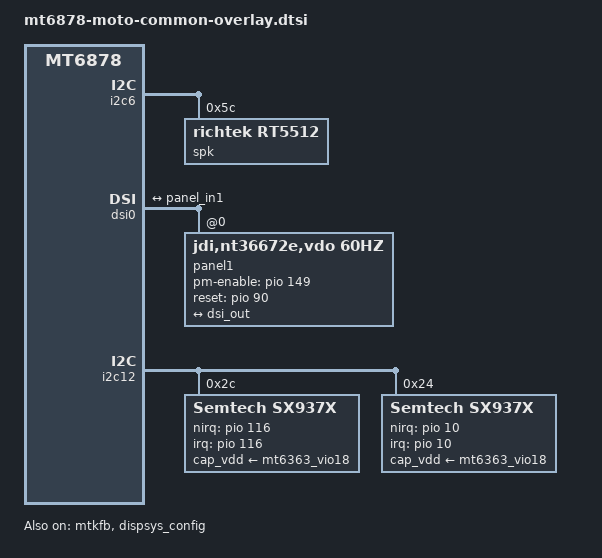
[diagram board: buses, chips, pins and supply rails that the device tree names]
// SPDX-License-Identifier: (GPL-2.0 OR MIT)
/*
 * Copyright (C) 2022 MediaTek Inc.
 */
/dts-v1/;
/plugin/;
#include <dt-bindings/interrupt-controller/arm-gic.h>
#include <dt-bindings/interrupt-controller/irq.h>
#include <dt-bindings/phy/phy.h>
#include <dt-bindings/pinctrl/mt6878-pinfunc.h>

#if 0
#include <dt-bindings/pinctrl/mt6897-pinfunc.h>
#endif

&chosen {
bootargs_ext = "arm64.nopauth arm64.nosme arm64.nosve";
};

&mtk_leds {
	compatible = "mediatek,i2c-leds";

	backlight {
		led-mode = <6>;
		gate-enable = <1>;
		pwm-config = <0 1 0 0 0>;
	};
};

&pdc {
	pd-vbus-upper-bound = <9000000>;
};

#if 0

&connfem {
/* Enable epa_elna node to support Wifi & BT ePA/eLNA FEM on customer load */
#if 0
	epa-elna {
		parts = <&wlan7207h &wlan7207c>;
		wifi {
			flags-0 {
				open-loop;
			};
		};
		bt {
			flags-0 {
				/* choose one of: epa-elna/epa/elna/bypass */
				epa-elna;
			};
		};
	};
#endif
};

/* GPS GPIO standardization start */
&pio {
	gps_pins_default: gps-default {
	};
	gps_l1_lna_pins_ol: gps-l1-lna0 {
		pins-cmd-dat {
			pinmux = <PINMUX_GPIO143__FUNC_GPIO143>;
			output-low;
		};
	};
	gps_l1_lna_pins_dsp_ctrl: gps-l1-lna1 {
		pins-cmd-dat {
			pinmux = <PINMUX_GPIO143__FUNC_GPS_L1_ELNA_EN>;
		};
	};
	gps_l1_lna_pins_oh: gps-l1-lna2 {
		pins-cmd-dat {
			pinmux = <PINMUX_GPIO143__FUNC_GPIO143>;
			output-high;
		};
	};
	gps_l5_lna_pins_ol: gps-l5-lna0 {
		pins-cmd-dat {
			pinmux = <PINMUX_GPIO144__FUNC_GPIO144>;
			output-low;
		};
	};
	gps_l5_lna_pins_dsp_ctrl: gps-l5-lna1 {
		pins-cmd-dat {
			pinmux = <PINMUX_GPIO144__FUNC_GPS_L5_ELNA_EN>;
		};
	};
	gps_l5_lna_pins_oh: gps-l5-lna2 {
		pins-cmd-dat {
			pinmux = <PINMUX_GPIO144__FUNC_GPIO144>;
			output-high;
		};
	};
};
&gps {
	pinctrl-names = "default",
		"gps_l1_lna_disable",
		"gps_l1_lna_dsp_ctrl",
		"gps_l1_lna_enable",
		"gps_l5_lna_disable",
		"gps_l5_lna_dsp_ctrl",
		"gps_l5_lna_enable";
	pinctrl-0 = <&gps_pins_default>;
	pinctrl-1 = <&gps_l1_lna_pins_ol>;
	pinctrl-2 = <&gps_l1_lna_pins_dsp_ctrl>;
	pinctrl-3 = <&gps_l1_lna_pins_oh>;
	pinctrl-4 = <&gps_l5_lna_pins_ol>;
	pinctrl-5 = <&gps_l5_lna_pins_dsp_ctrl>;
	pinctrl-6 = <&gps_l5_lna_pins_oh>;
	status = "okay";
};
/* GPS GPIO standardization end */

#endif

&i2c6 {
	spk: speaker-amp@5c {
		compatible = "richtek,rt5512";
		#address-cells = <1>;
		#size-cells = <0>;
		#sound-dai-cells = <0>;
		reg = <0x5c>;
		status = "okay";
		sound-name-prefix = "Left";
	};
};

&sound {
	mediatek,spk-i2s = <25 24>;
	mediatek,speaker-codec {
		sound-dai = <&spk>;
	};
};



&mtkfb {
	pinctrl-names = "lcd_bias_enp1_gpio", "lcd_bias_enp0_gpio",
		"lcd_bias_enn1_gpio", "lcd_bias_enn0_gpio",
		"lcm_rst_out1_gpio", "lcm_rst_out0_gpio",
		"mode_te_te", "lcm_led_en1_gpio", "lcm_led_en0_gpio";
	pinctrl-0 = <&mtkfb_pins_lcd_bias_enp1>;
	pinctrl-1 = <&mtkfb_pins_lcd_bias_enp0>;
	pinctrl-2 = <&mtkfb_pins_lcd_bias_enn1>;
	pinctrl-3 = <&mtkfb_pins_lcd_bias_enn0>;
	pinctrl-4 = <&mtkfb_pins_lcm_rst_out1_gpio>;
	pinctrl-5 = <&mtkfb_pins_lcm_rst_out0_gpio>;
	pinctrl-6 = <&mtkfb_pins_lcm_dsi_te>;
	pinctrl-7 = <&mtkfb_pins_lcm_led_en1>;
	pinctrl-8 = <&mtkfb_pins_lcm_led_en0>;

	status = "okay";
};

&pio {
	mtkfb_pins_lcd_bias_enp1: lcd-bias-enp1-gpio {
		pins-cmd-dat {
			pinmux = <PINMUX_GPIO149__FUNC_GPIO149>;
			slew-rate = <1>;
			output-high;
		};
	};

	mtkfb_pins_lcd_bias_enp0: lcd-bias-enp0-gpio {
		pins-cmd-dat {
			pinmux = <PINMUX_GPIO149__FUNC_GPIO149>;
			slew-rate = <1>;
			output-low;
		};
	};

	mtkfb_pins_lcd_bias_enn1: lcd-bias-enn1-gpio {
		pins-cmd-dat {
			pinmux = <PINMUX_GPIO149__FUNC_GPIO149>;
			slew-rate = <1>;
			output-high;
		};
	};

	mtkfb_pins_lcd_bias_enn0: lcd-bias-enn0-gpio {
		pins-cmd-dat {
			pinmux = <PINMUX_GPIO149__FUNC_GPIO149>;
			slew-rate = <1>;
			output-low;
		};
	};

	mtkfb_pins_lcm_rst_out1_gpio: lcm-rst-out1-gpio {
		pins-cmd-dat {
			pinmux = <PINMUX_GPIO90__FUNC_GPIO90>;
			slew-rate = <1>;
			output-high;
		};
	};

	mtkfb_pins_lcm_rst_out0_gpio: lcm-rst-out0-gpio {
		pins-cmd-dat {
			pinmux = <PINMUX_GPIO90__FUNC_GPIO90>;
			slew-rate = <1>;
			output-low;
		};
	};
	mtkfb_pins_lcm_dsi_te: lcm-dsi-te {
		pins-cmd-dat {
			pinmux = <PINMUX_GPIO89__FUNC_DSI_TE>;
		};
	};

	mtkfb_pins_lcm_led_en1: lcm-led-en1-gpio {
		pins-cmd-dat {
			pinmux = <PINMUX_GPIO149__FUNC_GPIO149>;
			slew-rate = <1>;
			output-high;
		};
	};

	mtkfb_pins_lcm_led_en0: lcm-led-en0-gpio {
		pins-cmd-dat {
			pinmux = <PINMUX_GPIO149__FUNC_GPIO149>;
			slew-rate = <1>;
			output-low;
		};
	};

	sar_int_default: sar_int_default {
		pins_cmd_dat {
			pinmux = <PINMUX_GPIO10__FUNC_GPIO10>;
			input-enable;
			drive-strength = <2>;
			bias-pull-up;
		};
	};

	sar_int_sleep: sar_int_sleep {
		pins_cmd_dat {
			pinmux = <PINMUX_GPIO10__FUNC_GPIO10>;
			input-enable;
			drive-strength = <2>;
			bias-pull-up;
		};
	};

	sar_int_default_sub: sar_int_default_sub {
		pins_cmd_dat {
			pinmux = <PINMUX_GPIO116__FUNC_GPIO116>;
			input-enable;
			drive-strength = <2>;
			bias-pull-up;
		};
	};

	sar_int_sleep_sub: sar_int_sleep_sub {
		pins_cmd_dat {
			pinmux = <PINMUX_GPIO116__FUNC_GPIO116>;
			input-enable;
			drive-strength = <2>;
			bias-pull-up;
		};
	};
};

&dispsys_config {
	pinctrl-names = "mode_te_te";
	pinctrl-0 = <&mtkfb_pins_lcm_dsi_te>;
	status = "okay";
};

&dsi0 {
	status = "okay";
	#address-cells = <1>;
	#size-cells = <0>;
	panel1@0 {
		compatible = "jdi,nt36672e,vdo,60hz";
		reg = <0>;
		pm-enable-gpios = <&pio 149 0>;
		reset-gpios = <&pio 90 0>;
		gate-ic = <4831>;
		pinctrl-names = "default";
		port {
			panel_in1: endpoint {
				remote-endpoint = <&dsi_out>;
			};
		};
	};
	ports {
		port {
			dsi_out: endpoint {
				remote-endpoint = <&panel_in1>;
			};
		};
	};
};

&i2c12 {
	status = "ok";
	sx937x@2c { /* SAR sensor */
		compatible = "Semtech,sx937x";
		reg = <0x2c>;
		Semtech,power-supply-type = <0>;
		cap_vdd-supply = <&mt6363_vio18>;
		pinctrl-names = "default","sleep";
		pinctrl-0 = <&sar_int_default>;
		pinctrl-1 = <&sar_int_sleep>;
		interrupt-parent = <&pio>;
		interrupts = <116 0x02>;
		interrupt-names = "capsense0_irq";
		Semtech,nirq-gpio= <&pio 116 0x02>;
		/*use PH4/5/6 as the reference sensor
		set it to 0xff if the ref-phases-x is not used*/
		Semtech,ref-phases-a = <4>;
		Semtech,ref-phases-b = <5>;
		Semtech,ref-phases-c = <6>;
		Semtech,button-flag = <0x3a>;
		Semtech,button-names = "Moto CapSense Ch1","Moto CapSense Ch3","Moto CapSense Ch4","Moto CapSense Ch5";
		Semtech,debug-name = "capsense0";
		Semtech,flip_operation_num = <3>;
		Semtech,flip_operation_far_num = <3>;
		Semtech,flip_near_init = <
			0x80F8 0x8130
			0x8024 0x0800
			0x4280 0xE
		>;
		Semtech,flip_far_init = <
			0x80F8 0x8830
			0x8024 0x7F00
			0x4280 0xE
		>;
		Semtech,reg-num = <71>;
		Semtech,reg-init = <
			0x4004 0x74
			0x8008 0x0
			0x8020 0x24
			0x8028 0x486
			0x8034 0x486
			0x8040 0x486
			0x804C 0x486
			0x8058 0x48E
			0x8064 0x486
			0x8070 0x486
			0x807C 0x486
			0x8030 0xFFCFFF
			0x803C 0xFFCFFD
			0x8048 0xFFCFFF
			0x8054 0xFFCFEF
			0x8060 0xFFCBFF
			0x806C 0xFECFFF
			0x8078 0xFFCFFF
			0x8084 0x0
			0x802C 0x0
			0x8038 0x0
			0x8044 0x0
			0x8050 0x0
			0x805C 0x0
			0x8068 0x0
			0x8074 0x0
			0x8080 0x0
			0x8098 0x0
			0x80B8 0x662D
			0x80D8 0x0
			0x8118 0x8F8F
			0x8138 0x7A7A
			0x8158 0x0
			0x8178 0x0
			0x80A0 0x0
			0x80C0 0x19190003
			0x80E0 0x0
			0x8100 0x0F0F0001
			0x8120 0x21210003
			0x8140 0x14140002
			0x8160 0x0
			0x8180 0x0
			0x8188 0x8000010
			0x818C 0x8000012
			0x8190 0x8000016
			0x8194 0x0
			0x8090 0x2AD67000
			0x80B0 0x2AD67000
			0x80D0 0x2AD67000
			0x80F0 0x2AD67000
			0x8110 0x2AD67000
			0x8130 0x2AD67000
			0x8150 0x2AD67000
			0x8170 0x0
			0x8088 0x300000
			0x80A8 0x300000
			0x80C8 0x300000
			0x80E8 0x300000
			0x8108 0x300000
			0x8128 0x300000
			0x8148 0x300000
			0x8168 0x0
			0x808C 0xA020003C
			0x80AC 0xA020003C
			0x80CC 0xA020003C
			0x80EC 0xA020003C
			0x810C 0xA0200030
			0x812C 0xA020003C
			0x814C 0xA020003C
			0x816C 0xA020003C
			0x8024 0x7F00
		>;
		status = "ok";
	};

	sx937x@24 { /* SAR sensor */
		compatible = "Semtech,sx937x";
		reg = <0x24>;
		Semtech,power-supply-type = <0>;
		cap_vdd-supply = <&mt6363_vio18>;
		pinctrl-names = "default","sleep";
		pinctrl-0 = <&sar_int_default_sub>;
		pinctrl-1 = <&sar_int_sleep_sub>;
		interrupt-parent = <&pio>;
		interrupts = <10 0x02>;
		interrupt-names = "capsense1_irq";
		Semtech,nirq-gpio= <&pio 10 0x02>;
		/*use PH4/5/6 as the reference sensor
		set it to 0xff if the ref-phases-x is not used*/
		Semtech,ref-phases-a = <4>;
		Semtech,ref-phases-b = <5>;
		Semtech,ref-phases-c = <6>;
		Semtech,button-flag = <0x45>;
		Semtech,button-names = "Moto CapSense Ch0","Moto CapSense Ch2","Moto CapSense Ch6";
		Semtech,debug-name = "capsense1";
		Semtech,flip_operation_num = <2>;
		Semtech,flip_operation_far_num = <2>;
		Semtech,flip_near_init = <
			0x8024 0x0400
			0x4280 0xE
		>;
		Semtech,flip_far_init = <
			0x8024 0x7F00
			0x4280 0xE
		>;
		Semtech,reg-num = <72>;
		Semtech,reg-init = <
			0x4004 0x74
			0x8008 0x0
			0x8020 0x32
			0x8028 0x456
			0x8034 0x476
			0x8040 0x456
			0x804C 0x476
			0x8058 0x476
			0x8064 0x476
			0x8070 0x456
			0x807C 0x476
			0x8030 0xFFCFFD
			0x803C 0xFFCFFF
			0x8048 0xFFCFEF
			0x8054 0xFFCFFF
			0x8060 0xFFFCFF
			0x806C 0xFFCFFF
			0x8078 0xFECBFF
			0x8084 0x0
			0x802C 0x0
			0x8038 0x0
			0x8044 0x0
			0x8050 0x0
			0x805C 0x0
			0x8068 0x0
			0x8074 0x0
			0x8080 0x0
			0x8098 0x753F
			0x80B8 0x0
			0x80D8 0x7F30
			0x80F8 0x0
			0x8118 0x0
			0x8138 0x0
			0x8158 0x7F7F
			0x8178 0x0
			0x80A0 0x15150001
			0x80C0 0x0
			0x80E0 0x40400002
			0x8100 0x0
			0x8120 0x0
			0x8140 0x0
			0x8160 0x15150003
			0x8180 0x0
			0x8188 0x8000011
			0x818C 0x8000015
			0x8190 0x8000015
			0x8194 0x0
			0x8090 0x2ADE7000
			0x80B0 0x2AD67000
			0x80D0 0x2ADE7000
			0x80F0 0x2AD67000
			0x8110 0x2AD67000
			0x8130 0x2AD67000
			0x8150 0x2AD67000
			0x8170 0x0
			0x8088 0x2300000
			0x80A8 0x300000
			0x80C8 0x300000
			0x80E8 0x300000
			0x8108 0x300000
			0x8128 0x300000
			0x8148 0x2300000
			0x8168 0x0
			0x808C 0xA020003C
			0x80AC 0xA020003C
			0x80CC 0xA020003C
			0x80EC 0xA020003C
			0x810C 0xA020003C
			0x812C 0xA020003C
			0x814C 0xA0200030
			0x816C 0x0
			0x8024 0x7F00
		>;
		status = "ok";
	};
};

//#include <k6878v1_64/cust.dtsi>
#include "mediatek/cust_mt6878_touch_1080x2400.dtsi"
#include "mediatek/cust_k6878_connfem.dtsi"
/*End of this file, DO NOT ADD ANYTHING HERE*/
